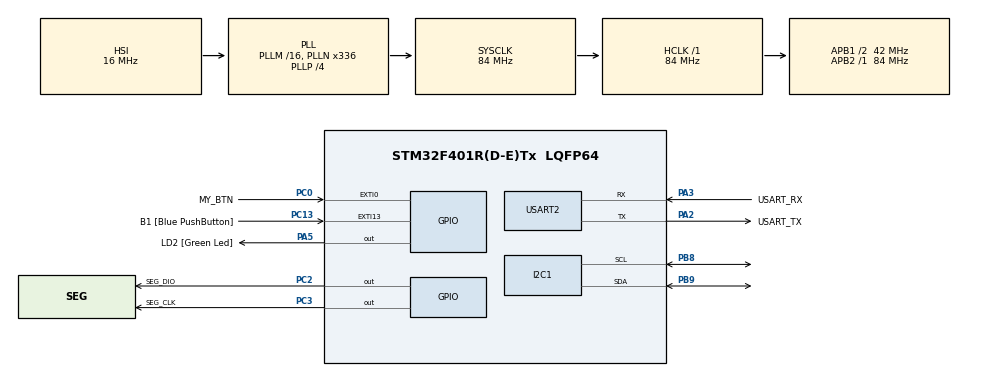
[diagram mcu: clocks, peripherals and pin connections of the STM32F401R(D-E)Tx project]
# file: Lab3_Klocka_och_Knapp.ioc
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Mcu.Family=STM32F4
Mcu.Name=STM32F401R(D-E)Tx
Mcu.Package=LQFP64
NVIC.EXTI0_IRQn=true\:0\:0\:false\:false\:true\:true\:true\:true
NVIC.PriorityGroup=NVIC_PRIORITYGROUP_0
NVIC.TIM1_UP_TIM10_IRQn=true\:0\:0\:false\:false\:true\:true\:true\:true
PA13.GPIO_Label=TMS
PA13.Mode=Serial_Wire
PA13.Signal=SYS_JTMS-SWDIO
PA14.GPIO_Label=TCK
PA14.Mode=Serial_Wire
PA14.Signal=SYS_JTCK-SWCLK
PA2.GPIO_Label=USART_TX
PA2.GPIO_Mode=GPIO_MODE_AF_PP
PA2.GPIO_PuPd=GPIO_NOPULL
PA2.GPIO_Speed=GPIO_SPEED_FREQ_LOW
PA2.Mode=Asynchronous
PA2.Signal=USART2_TX
PA3.GPIO_Label=USART_RX
PA3.GPIO_Mode=GPIO_MODE_AF_PP
PA3.GPIO_PuPd=GPIO_NOPULL
PA3.GPIO_Speed=GPIO_SPEED_FREQ_LOW
PA3.Mode=Asynchronous
PA3.Signal=USART2_RX
PA5.GPIO_Label=LD2 [Green Led]
PA5.GPIO_Mode=GPIO_MODE_OUTPUT_PP
PA5.GPIO_PuPd=GPIO_NOPULL
PA5.GPIO_Speed=GPIO_SPEED_FREQ_LOW
PA5.Signal=GPIO_Output
PB3.GPIO_Label=SWO
PB3.Signal=SYS_JTDO-SWO
PB8.Mode=I2C
PB8.Signal=I2C1_SCL
PB9.Mode=I2C
PB9.Signal=I2C1_SDA
PC0.GPIO_Label=MY_BTN
PC0.GPIO_ModeDefaultEXTI=GPIO_MODE_IT_FALLING
PC0.Signal=GPXTI0
PC13-ANTI_TAMP.GPIO_Label=B1 [Blue PushButton]
PC13-ANTI_TAMP.GPIO_ModeDefaultEXTI=GPIO_MODE_IT_FALLING
PC13-ANTI_TAMP.GPIO_PuPd=GPIO_NOPULL
PC13-ANTI_TAMP.Signal=GPXTI13
PC14-OSC32_IN.Mode=LSE-External-Oscillator
PC14-OSC32_IN.Signal=RCC_OSC32_IN
PC15-OSC32_OUT.Mode=LSE-External-Oscillator
PC15-OSC32_OUT.Signal=RCC_OSC32_OUT
PC2.GPIO_Label=SEG_DIO
PC2.GPIO_ModeDefaultOutputPP=GPIO_MODE_OUTPUT_OD
PC2.GPIO_PuPd=GPIO_NOPULL
PC2.Signal=GPIO_Output
PC3.GPIO_Label=SEG_CLK
PC3.Signal=GPIO_Output
PH0\ -\ OSC_IN.Mode=HSE-External-Clock-Source
PH0\ -\ OSC_IN.Signal=RCC_OSC_IN
PH1\ -\ OSC_OUT.Mode=HSE-External-Clock-Source
PH1\ -\ OSC_OUT.Signal=RCC_OSC_OUT
ProjectManager.HeapSize=0x200
ProjectManager.StackSize=0x400
ProjectManager.TargetToolchain=STM32CubeIDE
RCC.48MHZClocksFreq_Value=48000000
RCC.AHBFreq_Value=84000000
RCC.APB1CLKDivider=RCC_HCLK_DIV2
RCC.APB1Freq_Value=42000000
RCC.APB1TimFreq_Value=84000000
RCC.APB2Freq_Value=84000000
RCC.APB2TimFreq_Value=84000000
RCC.CortexFreq_Value=84000000
RCC.HCLKFreq_Value=84000000
RCC.HSE_VALUE=8000000
RCC.HSI_VALUE=16000000
RCC.PLLN=336
RCC.PLLP=RCC_PLLP_DIV4
RCC.PLLQ=7
RCC.SYSCLKFreq_VALUE=84000000
RCC.SYSCLKSource=RCC_SYSCLKSOURCE_PLLCLK
RCC.VCOOutputFreq_Value=336000000
TIM1.Period=4200-1
TIM1.Prescaler=20000-1
TIM2.Prescaler=84-1
USART2.VirtualMode=VM_ASYNC
VP_TIM1_VS_ClockSourceINT.Mode=Internal
VP_TIM2_VS_ClockSourceINT.Mode=Internal
board=NUCLEO-F401RE

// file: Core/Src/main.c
/* USER CODE BEGIN Header */
/**
 ******************************************************************************
 * @file           : main.c
 * @brief          : Main program body
 ******************************************************************************
 * @attention
 *
 * Copyright (c) 2024 STMicroelectronics.
 * All rights reserved.
 *
 * This software is licensed under terms that can be found in the LICENSE file
 * in the root directory of this software component.
 * If no LICENSE file comes with this software, it is provided AS-IS.
 *
 ******************************************************************************
 */
/* USER CODE END Header */
#include "main.h"

/* USER CODE BEGIN Includes */
#include "quad_sseg.h"
#include "lcd.h"
#include <stdio.h>
#include <string.h>
/* USER CODE END Includes */

I2C_HandleTypeDef hi2c1;

TIM_HandleTypeDef htim1;
TIM_HandleTypeDef htim2;

UART_HandleTypeDef huart2;

/* USER CODE BEGIN PV */
uint16_t button_exti_count;
uint16_t button_debounced_count;
uint16_t unhandled_exti = 0;
uint16_t BOUNCE_DELAY_MS = 20;
struct clock_data my_clock;
int g_update_clock = 0;
/* USER CODE END PV */

void SystemClock_Config(void);
static void MX_GPIO_Init(void);
static void MX_USART2_UART_Init(void);
static void MX_TIM1_Init(void);
static void MX_I2C1_Init(void);
static void MX_TIM2_Init(void);
/* USER CODE BEGIN PFP */
void uart_print_menu();
void uart_print_bad_choice();
void clock_mode();
void HAL_GPIO_EXTI_Callback( uint16_t GPIO_Pin );
void HAL_TIM_PeriodElapsedCallback(TIM_HandleTypeDef *htim);
/* USER CODE END PFP */

/* USER CODE BEGIN 0 */
struct clock_data
{
	uint16_t seconds;
	uint16_t minutes;
	uint16_t hours;
};
void cd_set(struct clock_data * pcd,
		uint8_t hrs,
		uint8_t min,
		uint8_t sec){
	pcd->hours = hrs;
	pcd->minutes = min;
	pcd->seconds = sec;
}
void cd_tick(struct clock_data * pcd){
	pcd->seconds++;
	if (pcd->seconds == 60) {
		pcd->seconds = 0;
		pcd->minutes++;
		if (pcd->minutes == 60) {
			pcd->minutes = 0;
			pcd->hours++;
			if (pcd->hours == 24) {
				pcd->hours = 0;
			}
		}
	}
}
void uart_print_cd(UART_HandleTypeDef * huart,
		struct clock_data * pcd)
{
	char str[20];
	sprintf(str, "Time is:%02d:%02d:%02d\r", pcd->hours, pcd->minutes, pcd->seconds);
	HAL_UART_Transmit(huart, (uint8_t*)str, strlen(str), HAL_MAX_DELAY);
}

void uart_print_menu()
{
	char str[100];
	sprintf(str, "This is very nice menu, yes?\r\n"
			"Choose your destiny:\r\n"
			"1. Clock Mode.\r\n"
			"2. Button Mode\r\n");
	HAL_UART_Transmit(&huart2, (uint8_t*)str, strlen(str), HAL_MAX_DELAY);
}

int uart_get_menu_choice()
{
	char str[1] = { '\0' };
	uint16_t str_len = 1;
	HAL_UART_Receive(&huart2,
			(uint8_t *) str,
			str_len,
			HAL_MAX_DELAY);
	int ret = -1;
	sscanf(str, "%d", &ret);
	return ret;
}

void uart_print_bad_choice()
{
	char str[15];

	sprintf(str,"Fel inmatning");
	HAL_UART_Transmit(&huart2, (uint8_t*)str, strlen(str), HAL_MAX_DELAY);
}

void clock_mode()
{
	/*** init segment ***/
	/*** main loop ***/
	TextLCDType lcd;
	TextLCD_Init(&lcd, &hi2c1, 0x4E);
	TextLCD_Position(&lcd, 8, 1);

	int b1_pressed;
	int colon_state;
	cd_set(&my_clock, 23, 59, 45);
	HAL_TIM_Base_Start_IT(&htim1);
	while (1)
	{
		if (g_update_clock)
		{
			b1_pressed = GPIO_PIN_RESET == HAL_GPIO_ReadPin(B1_GPIO_Port, B1_Pin);

			if(my_clock.seconds % 2 == 0){
				colon_state = 1;
			}
			else {
				colon_state = 0;
			}
			if (!b1_pressed)
			{
				qs_put_digits(my_clock.minutes / 10, my_clock.minutes % 10, my_clock.seconds / 10, my_clock.seconds % 10, colon_state);
			}
			else
			{
				qs_put_digits(my_clock.hours / 10, my_clock.hours % 10, my_clock.minutes / 10, my_clock.minutes % 10, colon_state);
			}

			char time_str[9]; // HH:MM:SS + null terminator
			sprintf(time_str, "%02d:%02d:%02d", my_clock.hours, my_clock.minutes, my_clock.seconds);
			uart_print_cd(&huart2, &my_clock);

			TextLCD_PutStr(&lcd, time_str);
			TextLCD_Position(&lcd, 8, 1);
			g_update_clock = 0;
		}
	}
}
void button_mode()
{
	/*** init segment ***/
	/*** main loop ***/
	int b1_pressed;
	int pressed;
	while (1)
	{

		b1_pressed = GPIO_PIN_RESET == HAL_GPIO_ReadPin(B1_GPIO_Port, B1_Pin);
		if (unhandled_exti)
		{
			HAL_Delay(BOUNCE_DELAY_MS);
			pressed = GPIO_PIN_RESET == HAL_GPIO_ReadPin(MY_BTN_GPIO_Port, MY_BTN_Pin);
			if (pressed)
			{
				button_debounced_count++;
			}
			unhandled_exti = 0;

		}

		if(b1_pressed){
			qs_put_big_num(button_exti_count);
		}
		else if(pressed){
			qs_put_big_num(button_debounced_count);
		}
	}
}
void HAL_GPIO_EXTI_Callback( uint16_t GPIO_Pin )
{
	if(GPIO_Pin == MY_BTN_Pin){

		button_exti_count++;
		unhandled_exti = 1;
	}
}

void HAL_TIM_PeriodElapsedCallback(TIM_HandleTypeDef *htim){

	if (htim->Instance == TIM1) {
		cd_tick(&my_clock);
		g_update_clock = 1;
	}

}
/* USER CODE END 0 */

int main(void)
{

  /* MCU Configuration--------------------------------------------------------*/

  /* Reset of all peripherals, Initializes the Flash interface and the Systick. */
  HAL_Init();

  /* Configure the system clock */
  SystemClock_Config();

  /* Initialize all configured peripherals */
  MX_GPIO_Init();
  MX_USART2_UART_Init();
  MX_TIM1_Init();
  MX_I2C1_Init();
  MX_TIM2_Init();
  /* USER CODE BEGIN 2 */
	uart_print_menu();
  /* USER CODE END 2 */

  /* Infinite loop */
  /* USER CODE BEGIN WHILE */

	while (1)
	{
		int menu_choice = 1; // uart_get_menu_choice();
		{
			switch (menu_choice)
			{
			case 1: clock_mode(); break;
			case 2: button_mode(); break;
			default: uart_print_bad_choice(); break;
			}
		}
    /* USER CODE END WHILE */

	}
}

void SystemClock_Config(void)
{
  RCC_OscInitTypeDef RCC_OscInitStruct = {0};
  RCC_ClkInitTypeDef RCC_ClkInitStruct = {0};

  /** Configure the main internal regulator output voltage
  */
  __HAL_RCC_PWR_CLK_ENABLE();
  __HAL_PWR_VOLTAGESCALING_CONFIG(PWR_REGULATOR_VOLTAGE_SCALE2);

  /** Initializes the RCC Oscillators according to the specified parameters
  * in the RCC_OscInitTypeDef structure.
  */
  RCC_OscInitStruct.OscillatorType = RCC_OSCILLATORTYPE_HSI;
  RCC_OscInitStruct.HSIState = RCC_HSI_ON;
  RCC_OscInitStruct.HSICalibrationValue = RCC_HSICALIBRATION_DEFAULT;
  RCC_OscInitStruct.PLL.PLLState = RCC_PLL_ON;
  RCC_OscInitStruct.PLL.PLLSource = RCC_PLLSOURCE_HSI;
  RCC_OscInitStruct.PLL.PLLM = 16;
  RCC_OscInitStruct.PLL.PLLN = 336;
  RCC_OscInitStruct.PLL.PLLP = RCC_PLLP_DIV4;
  RCC_OscInitStruct.PLL.PLLQ = 7;
  if (HAL_RCC_OscConfig(&RCC_OscInitStruct) != HAL_OK)
  {
    Error_Handler();
  }

  /** Initializes the CPU, AHB and APB buses clocks
  */
  RCC_ClkInitStruct.ClockType = RCC_CLOCKTYPE_HCLK|RCC_CLOCKTYPE_SYSCLK
                              |RCC_CLOCKTYPE_PCLK1|RCC_CLOCKTYPE_PCLK2;
  RCC_ClkInitStruct.SYSCLKSource = RCC_SYSCLKSOURCE_PLLCLK;
  RCC_ClkInitStruct.AHBCLKDivider = RCC_SYSCLK_DIV1;
  RCC_ClkInitStruct.APB1CLKDivider = RCC_HCLK_DIV2;
  RCC_ClkInitStruct.APB2CLKDivider = RCC_HCLK_DIV1;

  if (HAL_RCC_ClockConfig(&RCC_ClkInitStruct, FLASH_LATENCY_2) != HAL_OK)
  {
    Error_Handler();
  }
}

static void MX_I2C1_Init(void)
{

  hi2c1.Instance = I2C1;
  hi2c1.Init.ClockSpeed = 100000;
  hi2c1.Init.DutyCycle = I2C_DUTYCYCLE_2;
  hi2c1.Init.OwnAddress1 = 0;
  hi2c1.Init.AddressingMode = I2C_ADDRESSINGMODE_7BIT;
  hi2c1.Init.DualAddressMode = I2C_DUALADDRESS_DISABLE;
  hi2c1.Init.OwnAddress2 = 0;
  hi2c1.Init.GeneralCallMode = I2C_GENERALCALL_DISABLE;
  hi2c1.Init.NoStretchMode = I2C_NOSTRETCH_DISABLE;
  if (HAL_I2C_Init(&hi2c1) != HAL_OK)
  {
    Error_Handler();
  }

}

static void MX_TIM1_Init(void)
{

  TIM_ClockConfigTypeDef sClockSourceConfig = {0};
  TIM_MasterConfigTypeDef sMasterConfig = {0};

  htim1.Instance = TIM1;
  htim1.Init.Prescaler = 20000-1;
  htim1.Init.CounterMode = TIM_COUNTERMODE_UP;
  htim1.Init.Period = 4200-1;
  htim1.Init.ClockDivision = TIM_CLOCKDIVISION_DIV1;
  htim1.Init.RepetitionCounter = 0;
  htim1.Init.AutoReloadPreload = TIM_AUTORELOAD_PRELOAD_DISABLE;
  if (HAL_TIM_Base_Init(&htim1) != HAL_OK)
  {
    Error_Handler();
  }
  sClockSourceConfig.ClockSource = TIM_CLOCKSOURCE_INTERNAL;
  if (HAL_TIM_ConfigClockSource(&htim1, &sClockSourceConfig) != HAL_OK)
  {
    Error_Handler();
  }
  sMasterConfig.MasterOutputTrigger = TIM_TRGO_RESET;
  sMasterConfig.MasterSlaveMode = TIM_MASTERSLAVEMODE_DISABLE;
  if (HAL_TIMEx_MasterConfigSynchronization(&htim1, &sMasterConfig) != HAL_OK)
  {
    Error_Handler();
  }

}

static void MX_TIM2_Init(void)
{

  TIM_ClockConfigTypeDef sClockSourceConfig = {0};
  TIM_MasterConfigTypeDef sMasterConfig = {0};

  htim2.Instance = TIM2;
  htim2.Init.Prescaler = 84-1;
  htim2.Init.CounterMode = TIM_COUNTERMODE_UP;
  htim2.Init.Period = 4294967295;
  htim2.Init.ClockDivision = TIM_CLOCKDIVISION_DIV1;
  htim2.Init.AutoReloadPreload = TIM_AUTORELOAD_PRELOAD_DISABLE;
  if (HAL_TIM_Base_Init(&htim2) != HAL_OK)
  {
    Error_Handler();
  }
  sClockSourceConfig.ClockSource = TIM_CLOCKSOURCE_INTERNAL;
  if (HAL_TIM_ConfigClockSource(&htim2, &sClockSourceConfig) != HAL_OK)
  {
    Error_Handler();
  }
  sMasterConfig.MasterOutputTrigger = TIM_TRGO_RESET;
  sMasterConfig.MasterSlaveMode = TIM_MASTERSLAVEMODE_DISABLE;
  if (HAL_TIMEx_MasterConfigSynchronization(&htim2, &sMasterConfig) != HAL_OK)
  {
    Error_Handler();
  }

}

static void MX_USART2_UART_Init(void)
{

  huart2.Instance = USART2;
  huart2.Init.BaudRate = 115200;
  huart2.Init.WordLength = UART_WORDLENGTH_8B;
  huart2.Init.StopBits = UART_STOPBITS_1;
  huart2.Init.Parity = UART_PARITY_NONE;
  huart2.Init.Mode = UART_MODE_TX_RX;
  huart2.Init.HwFlowCtl = UART_HWCONTROL_NONE;
  huart2.Init.OverSampling = UART_OVERSAMPLING_16;
  if (HAL_UART_Init(&huart2) != HAL_OK)
  {
    Error_Handler();
  }

}

static void MX_GPIO_Init(void)
{
  GPIO_InitTypeDef GPIO_InitStruct = {0};

  /* GPIO Ports Clock Enable */
  __HAL_RCC_GPIOC_CLK_ENABLE();
  __HAL_RCC_GPIOH_CLK_ENABLE();
  __HAL_RCC_GPIOA_CLK_ENABLE();
  __HAL_RCC_GPIOB_CLK_ENABLE();

  /*Configure GPIO pin Output Level */
  HAL_GPIO_WritePin(GPIOC, SEG_DIO_Pin|SEG_CLK_Pin, GPIO_PIN_RESET);

  /*Configure GPIO pin Output Level */
  HAL_GPIO_WritePin(LD2_GPIO_Port, LD2_Pin, GPIO_PIN_RESET);

  /*Configure GPIO pins : B1_Pin MY_BTN_Pin */
  GPIO_InitStruct.Pin = B1_Pin|MY_BTN_Pin;
  GPIO_InitStruct.Mode = GPIO_MODE_IT_FALLING;
  GPIO_InitStruct.Pull = GPIO_NOPULL;
  HAL_GPIO_Init(GPIOC, &GPIO_InitStruct);

  /*Configure GPIO pin : SEG_DIO_Pin */
  GPIO_InitStruct.Pin = SEG_DIO_Pin;
  GPIO_InitStruct.Mode = GPIO_MODE_OUTPUT_OD;
  GPIO_InitStruct.Pull = GPIO_NOPULL;
  GPIO_InitStruct.Speed = GPIO_SPEED_FREQ_LOW;
  HAL_GPIO_Init(SEG_DIO_GPIO_Port, &GPIO_InitStruct);

  /*Configure GPIO pin : SEG_CLK_Pin */
  GPIO_InitStruct.Pin = SEG_CLK_Pin;
  GPIO_InitStruct.Mode = GPIO_MODE_OUTPUT_PP;
  GPIO_InitStruct.Pull = GPIO_NOPULL;
  GPIO_InitStruct.Speed = GPIO_SPEED_FREQ_LOW;
  HAL_GPIO_Init(SEG_CLK_GPIO_Port, &GPIO_InitStruct);

  /*Configure GPIO pin : LD2_Pin */
  GPIO_InitStruct.Pin = LD2_Pin;
  GPIO_InitStruct.Mode = GPIO_MODE_OUTPUT_PP;
  GPIO_InitStruct.Pull = GPIO_NOPULL;
  GPIO_InitStruct.Speed = GPIO_SPEED_FREQ_LOW;
  HAL_GPIO_Init(LD2_GPIO_Port, &GPIO_InitStruct);

  /* EXTI interrupt init*/
  HAL_NVIC_SetPriority(EXTI0_IRQn, 0, 0);
  HAL_NVIC_EnableIRQ(EXTI0_IRQn);

}

void Error_Handler(void)
{
	__disable_irq();
	while (1)
	{
	}
}
